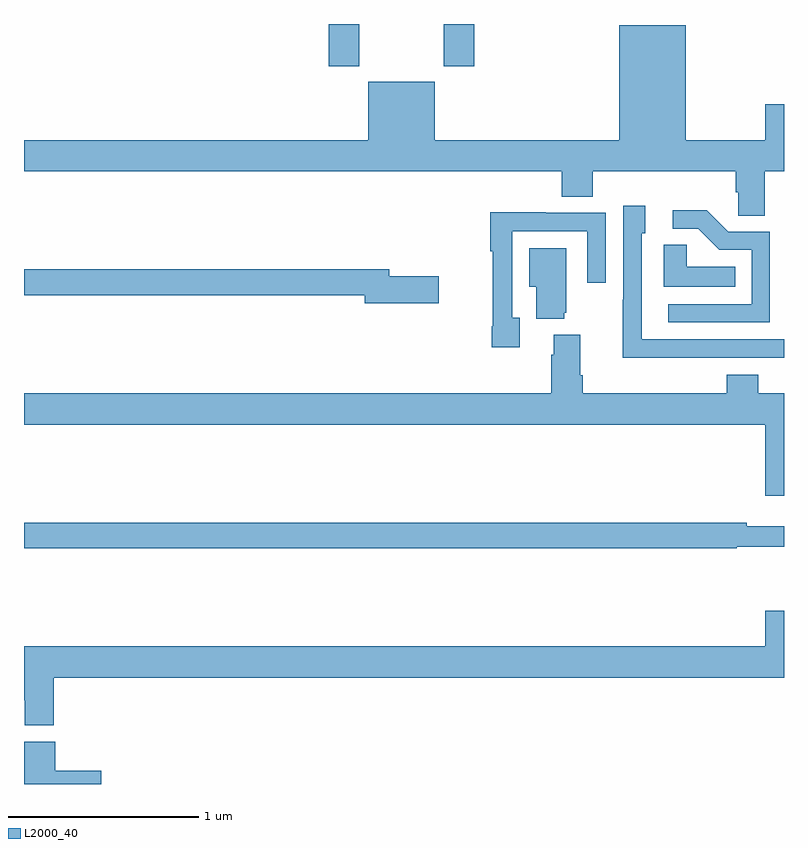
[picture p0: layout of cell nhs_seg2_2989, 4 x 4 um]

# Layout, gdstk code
import gdstk
lib = gdstk.Library(unit=1e-6, precision=1e-09)
def R(c, l, rs):  # rectangles x0, y0, x1, y1
    for r in rs: c.add(gdstk.rectangle(r[:2], r[2:], *l))
def P(c, l, *ps):  # polygons
    for p in ps: c.add(gdstk.Polygon(p, *l))
L2000_40 = (2000, 40)

nhs_seg2_2989 = lib.new_cell('nhs_seg2_2989')
R(nhs_seg2_2989, L2000_40, [(270.605,593.577,270.765,593.8), (271.21,593.577,271.37,593.8)])
P(nhs_seg2_2989, L2000_40, [(272.899,593.024),(273,593.024),(273,593.377),(272.9,593.377),(272.9,593.188),(272.482,593.188),(272.482,593.794),(272.132,593.794),(272.132,593.188),(271.162,593.188),(271.162,593.497),(270.812,593.497),(270.812,593.188),(269,593.188),(269,593.024),(271.829,593.024),(271.829,592.891),(271.994,592.891),(271.994,593.024),(272.747,593.024),(272.747,592.915),(272.76,592.915),(272.76,592.792),(272.899,592.792)],
  [(272.615,592.044),(273,592.044),(273,592.14),(272.25,592.14),(272.25,592.698),(272.269,592.698),(272.269,592.843),(272.154,592.843),(272.154,592.349),(272.152,592.349),(272.152,592.043),(272.615,592.043)],
  [(272.925,592.707),(272.706,592.707),(272.593,592.82),(272.415,592.82),(272.415,592.722),(272.549,592.722),(272.66,592.611),(272.829,592.611),(272.829,592.326),(272.391,592.326),(272.391,592.23),(272.925,592.23)],
  [(271.609,592.254),(271.569,592.254),(271.569,592.71),(271.965,592.71),(271.965,592.437),(272.061,592.437),(272.061,592.806),(271.745,592.806),(271.745,592.808),(271.453,592.808),(271.453,592.603),(271.468,592.603),(271.468,592.21),(271.461,592.21),(271.461,592.098),(271.609,592.098)],
  [(272.744,592.522),(272.487,592.522),(272.487,592.637),(272.366,592.637),(272.366,592.418),(272.744,592.418)],
  [(271.844,592.281),(271.855,592.281),(271.855,592.621),(271.658,592.621),(271.658,592.418),(271.697,592.418),(271.697,592.25),(271.844,592.25)],
  [(271.183,592.472),(270.922,592.472),(270.922,592.508),(269,592.508),(269,592.372),(270.794,592.372),(270.794,592.33),(271.183,592.33)],
  [(273,591.856),(272.864,591.856),(272.864,591.955),(272.699,591.955),(272.699,591.856),(271.94,591.856),(271.94,591.952),(271.927,591.952),(271.927,592.165),(271.787,592.165),(271.787,592.058),(271.775,592.058),(271.775,591.856),(269,591.856),(269,591.692),(272.9,591.692),(272.9,591.318),(273,591.318)],
  [(272.75,591.048),(273,591.048),(273,591.157),(272.804,591.157),(272.804,591.176),(269,591.176),(269,591.04),(272.75,591.04)],
  [(269.156,590.36),(273,590.36),(273,590.713),(272.9,590.713),(272.9,590.524),(269,590.524),(269,590.24),(269.003,590.24),(269.003,590.108),(269.156,590.108)],
  [(269.407,589.871),(269.164,589.871),(269.164,590.023),(269,590.023),(269,589.8),(269.407,589.8)])

lib.write_gds('nhs_seg2_2989.gds')
